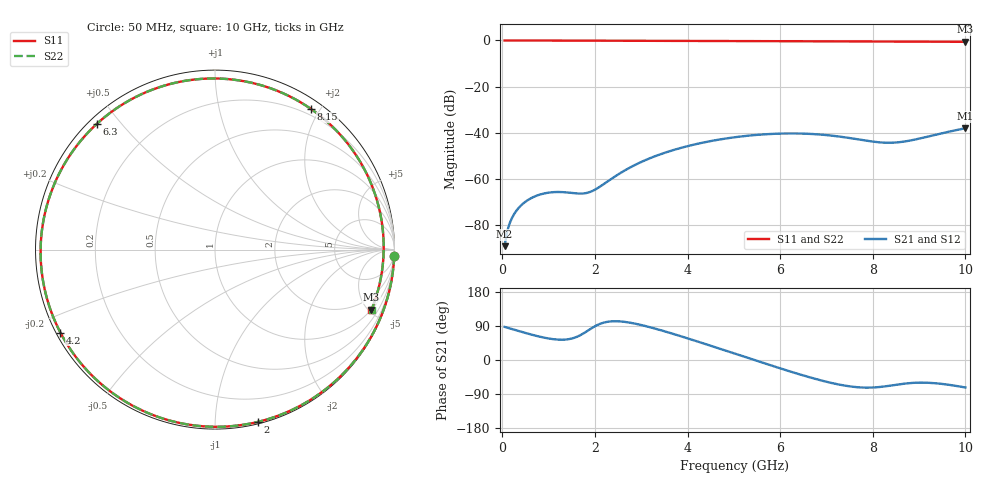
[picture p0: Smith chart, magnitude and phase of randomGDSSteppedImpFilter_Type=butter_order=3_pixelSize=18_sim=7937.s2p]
! freq	dB(S11)	phase(S11)	dB(S12)	phase(S12)
!  dB(S21)	phase(S21)	dB(S22)	phase(S22)
!S-par simulation data
#  GHz  S  DB  R 50
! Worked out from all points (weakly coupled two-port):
!   200 points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, 50 MHz to 10 GHz, reference 50 ohm
!   highest |S21| = -38.06 dB at 10 GHz (marker M1); lowest = -89.2 dB at 50 MHz (marker M2)
!   lowest |S11| = -0.6 dB at 10 GHz (marker M3), VSWR 29.33, Z = 49.4 - j260 ohm
!   |S11| at or under -10 dB: nowhere
!   |S22| runs from -0.6 to 0.0 dB; largest |S21 - S12| = 0
!   S11 on the Smith chart (normalised r, x): 50 MHz: 1, -57; 2 GHz: 0.01, -1.28; 4.2 GHz: 0.01, -0.25; 6.3 GHz: 0.02, +0.43; 8.15 GHz: 0.12, +1.89; 10 GHz: 0.99, -5.20
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0.05  -0.00 -2.0  -89.16 87.4  -89.16 87.4  -0.00 -2.0
0.15  -0.01 -5.9  -79.75 83.9  -79.75 83.9  -0.01 -5.9
0.25  -0.01 -9.8  -75.43 80.3  -75.43 80.3  -0.01 -9.8
0.45  -0.02 -17.7  -70.69 73.1  -70.69 73.1  -0.02 -17.7
0.75  -0.03 -29.3  -67.22 63.2  -67.22 63.2  -0.03 -29.3
1.15  -0.05 -44.6  -65.69 54.3  -65.69 54.3  -0.05 -44.6
1.75  -0.08 -67.0  -66.32 70.0  -66.32 70.0  -0.08 -67.0
2  -0.09 -76.1  -64.70 89.0  -64.70 89.0  -0.09 -76.1
2.7  -0.12 -100.8  -55.71 99.6  -55.71 99.6  -0.12 -100.8
3.4  -0.16 -124.8  -49.43 79.4  -49.43 79.4  -0.16 -124.8
4.2  -0.20 -151.7  -44.85 49.4  -44.85 49.4  -0.20 -151.7
5.05  -0.25 179.1  -41.87 15.7  -41.87 15.7  -0.25 179.1
5.65  -0.29 157.7  -40.70 -8.3  -40.70 -8.3  -0.29 157.7
6.3  -0.34 133.2  -40.31 -33.4  -40.31 -33.4  -0.34 133.2
6.7  -0.37 117.3  -40.56 -47.8  -40.56 -47.8  -0.37 117.3
7.45  -0.42 86.1  -42.14 -68.6  -42.14 -68.6  -0.42 86.1
8.15  -0.46 55.7  -44.17 -71.2  -44.17 -71.2  -0.46 55.7
8.35  -0.47 46.9  -44.34 -68.2  -44.34 -68.2  -0.47 47.0
8.75  -0.49 29.6  -43.59 -61.5  -43.59 -61.5  -0.49 29.6
9.15  -0.51 12.7  -41.86 -59.9  -41.86 -59.9  -0.51 12.7
9.55  -0.55 -3.6  -39.97 -63.9  -39.97 -63.9  -0.55 -3.6
10  -0.59 -21.1  -38.06 -72.6  -38.06 -72.6  -0.59 -21.0
